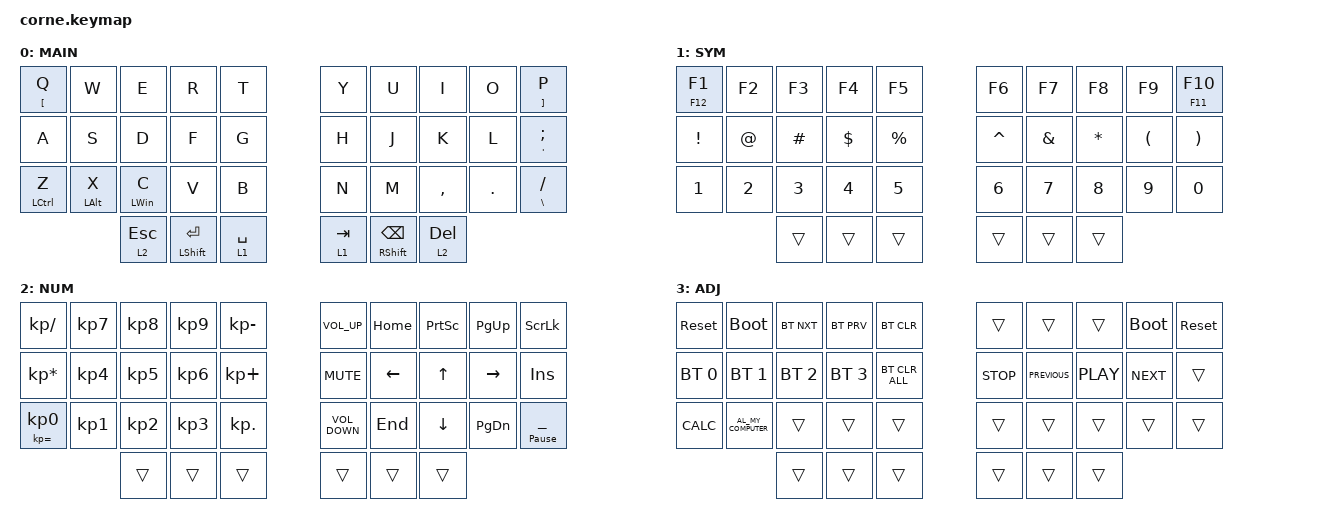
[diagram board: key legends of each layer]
/*
 * Copyright (c) 2020 The ZMK Contributors
 *
 * SPDX-License-Identifier: MIT
 */

#include <behaviors.dtsi>
#include <dt-bindings/zmk/bt.h>
#include <dt-bindings/zmk/keys.h>

&lt { quick-tap-ms = <200>; };

&mt { quick-tap-ms = <200>; };

/ {
    conditional_layers {
        compatible = "zmk,conditional-layers";

        adjust {
            if-layers = <1 2>;
            then-layer = <3>;
        };
    };

    combos {
        compatible = "zmk,combos";

        Language {
            bindings = <&kp LS(LALT)>;
            key-positions = <41 40 35 34>;
            require-prior-idle-ms = <60>;
        };

        Ctrl {
            bindings = <&kp RCTRL>;
            key-positions = <29 19>;
            require-prior-idle-ms = <60>;
        };

        Alt {
            bindings = <&kp RALT>;
            key-positions = <28 18>;
            require-prior-idle-ms = <60>;
        };

        Win {
            bindings = <&kp RIGHT_WIN>;
            key-positions = <27 17>;
            require-prior-idle-ms = <60>;
        };
    };

    keymap {
        compatible = "zmk,keymap";

        default_layer {
            label = "MAIN";

            // -----------------------------------------------------------------------------------------
            // |  Q  |  W  |  E  |  R  |  T  |   |  Y  |  U   |  I  |  O  |  P  |
            // |  A  |  S  |  D  |  F  |  G  |   |  H  |  J   |  K  |  L  |  ;  |
            // |  Z  |  X  |  C  |  V  |  B  |   |  N  |  M   |  ,  |  .  |  /  |
            //             | GUI | LWR | SPC |   | ENT | RSE  | ALT |

            bindings = <
  &mt LEFT_BRACKET Q  &kp W       &kp E           &kp R                 &kp T          &kp Y      &kp U                      &kp I      &kp O    &mt RIGHT_BRACKET P
  &kp A               &kp S       &kp D           &kp F                 &kp G          &kp H      &kp J                      &kp K      &kp L    &mt SQT SEMICOLON
  &mt LCTRL Z         &mt LALT X  &mt LEFT_WIN C  &kp V                 &kp B          &kp N      &kp M                      &kp COMMA  &kp DOT  &mt BSLH SLASH
                                  &lt 2 ESC       &mt LEFT_SHIFT ENTER  &lt 1 SPACE    &lt 1 TAB  &mt RIGHT_SHIFT BACKSPACE  &lt 2 DEL
            >;
        };

        lower_layer {
            label = "SYM";

            // -----------------------------------------------------------------------------------------
            // |  1  |  2  |  3  |  4  |  5  |   |  6  |  7  |  8  |  9  |  0  |
            // | BT1 | BT2 | BT3 | BT4 | BT5 |   | LFT | DWN |  UP | RGT |     |
            // |     |     |     |     |     |   |     |     |     |     |     |
            //             | GUI |     | SPC |   | ENT |     | ALT |

            bindings = <
  &mt F12 F1       &kp F2        &kp F3        &kp F4        &kp F5         &kp F6        &kp F7         &kp F8        &kp F9                &mt F11 F10
  &kp EXCLAMATION  &kp AT_SIGN   &kp HASH      &kp DOLLAR    &kp PERCENT    &kp CARET     &kp AMPERSAND  &kp ASTERISK  &kp LEFT_PARENTHESIS  &kp RIGHT_PARENTHESIS
  &kp NUMBER_1     &kp NUMBER_2  &kp NUMBER_3  &kp NUMBER_4  &kp N5         &kp NUMBER_6  &kp N7         &kp N8        &kp N9                &kp N0
                                 &trans        &trans        &trans         &trans        &trans         &trans
            >;
        };

        raise_layer {
            label = "NUM";

            // -----------------------------------------------------------------------------------------
            // |  !  |  @  |  #  |  $  |  %  |   |  ^  |  &  |  *  |  (  |  )  |
            // |     |     |     |     |     |   |  -  |  =  |  [  |  ]  |  \  |
            // |     |     |     |     |     |   |  _  |  +  |  {  |  }  | "|" |
            //             | GUI |     | SPC |   | ENT |     | ALT |

            bindings = <
  &kp KP_SLASH        &kp KP_N7  &kp KP_N8  &kp KP_N9  &kp KP_MINUS    &kp C_VOLUME_UP    &kp HOME  &kp PRINTSCREEN  &kp PG_UP  &kp SCROLLLOCK
  &kp KP_MULTIPLY     &kp KP_N4  &kp KP_N5  &kp KP_N6  &kp KP_PLUS     &kp C_MUTE         &kp LEFT  &kp UP           &kp RIGHT  &kp INS
  &mt KP_EQUAL KP_N0  &kp KP_N1  &kp KP_N2  &kp KP_N3  &kp KP_DOT      &kp C_VOLUME_DOWN  &kp END   &kp DOWN         &kp PG_DN  &mt PAUSE_BREAK UNDERSCORE
                                 &trans     &trans     &trans          &trans             &trans    &trans
            >;
        };

        adjust_layer {
            label = "ADJ";
            bindings = <
  &sys_reset    &bootloader           &bt BT_NXT    &bt BT_PRV    &bt BT_CLR        &trans      &trans          &trans      &bootloader  &sys_reset
  &bt BT_SEL 0  &bt BT_SEL 1          &bt BT_SEL 2  &bt BT_SEL 3  &bt BT_CLR_ALL    &kp K_STOP  &kp C_PREVIOUS  &kp C_PLAY  &kp C_NEXT   &trans
  &kp K_CALC    &kp C_AL_MY_COMPUTER  &trans        &trans        &trans            &trans      &trans          &trans      &trans       &trans
                                      &trans        &trans        &trans            &trans      &trans          &trans
            >;
        };
    };
};
